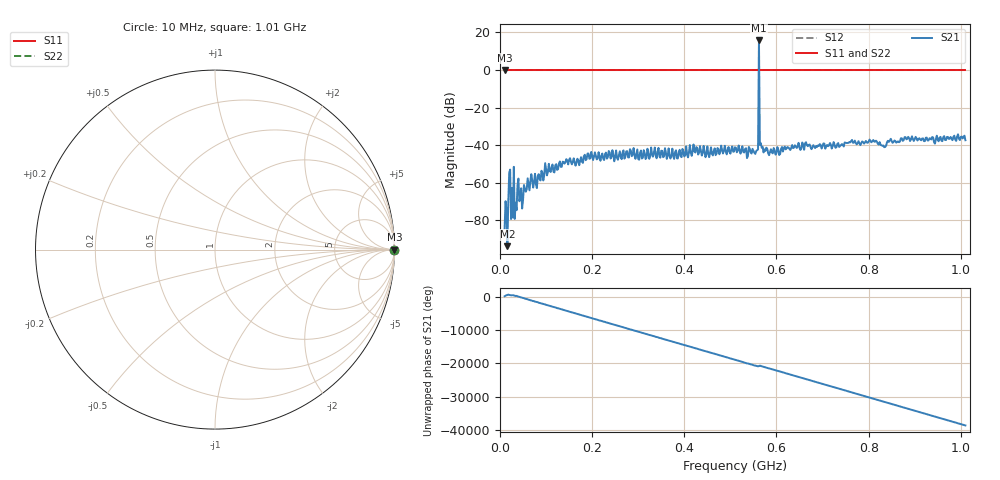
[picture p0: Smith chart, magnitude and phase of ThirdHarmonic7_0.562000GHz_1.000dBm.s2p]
! 8/17/2025 5:12:26 PM
! C:\ANRITSUVNA\TEMP\TEMP.S2P
! CHANNEL.1
! TR.MEASUREMENT
! RAW.DATA
! RF.CORRECTION.OFF
! AVERAGING.OFF
! IF.BANDWIDTH: 5KHZ
! SWEEPTYPE:  FREQ.SWEEP(Linear)
! Reference Plane Port Info
! PORT:  PORT1  PORT2
! DISTANCE:  0  m  0  m
! TIME:  0  s  0  s
! PHASE.OFFSET:  0  deg.  0  deg.
! LOSS:  0  dB  0  dB
! REF.LOSS:  0  dB  0  dB
! REF.FREQ:  0  Hz  0  Hz
! Power Info
! POWER:  -20  dBm  -20  dBm
! EFF.POWER:  -20  dBm  -20  dBm
! SOURCE.ATTEN:  0  dB  0  dB
! TEST.ATTEN:  0  dB  0  dB
# GHZ S RI R 50.0
! FREQ.GHZ  S11RE  S11IM  S21RE  S21IM  S12RE  S12IM  S22RE  S22IM
!; PortSelection: Port_12
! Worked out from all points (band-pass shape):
!   501 points, 10 MHz to 1.01 GHz, reference 50 ohm
!   highest |S21| = 15.61 dB at 562 MHz (marker M1); lowest = -93.6 dB at 16 MHz (marker M2)
!   |S21| within 3 dB of the highest: 561.8963 MHz to 562.1081 MHz (211.8 kHz wide, 0.0377 % of centre)
!   lowest |S11| = 0.0 dB at 10 MHz (marker M3)
!   |S11| at or under -10 dB: nowhere
!   |S22| runs from 0.0 to 0.0 dB; largest |S21 - S12| = 6.1
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0.01  1 0  -5.43e-05 2.88e-05  1 0  1 0
0.016  1 0  -1.97e-05 6.7e-06  1 0  1 0
0.022  1 0  -0.00189 0.00122  1 0  1 0
0.026  1 0  1.7e-05 0.000722  1 0  1 0
0.028  1 0  -2.6e-05 0.000117  1 0  1 0
0.042  1 0  0.000291 -0.000142  1 0  1 0
0.046  1 0  -0.000474 0.000535  1 0  1 0
0.064  1 0  -0.000511 0.000374  1 0  1 0
0.076  1 0  0.00168 -0.000454  1 0  1 0
0.102  1 0  0.00152 0.000424  1 0  1 0
0.178  1 0  -0.00351 -0.000903  1 0  1 0
0.344  1 0  0.00831 -0.00179  1 0  1 0
0.51  1 0  -0.00825 -0.0031  1 0  1 0
0.556  1 0  -0.00679 0.00164  1 0  1 0
0.558  1 0  0.00259 0.00688  1 0  1 0
0.562  1 0  0.1658 6.033  1 0  1 0
0.566  1 0  -0.00511 0.0101  1 0  1 0
0.568  1 0  0.00718 0.0046  1 0  1 0
0.588  1 0  0.00464 -0.00627  1 0  1 0
0.678  1 0  0.00659 -0.00577  1 0  1 0
0.844  1 0  -0.00814 0.00908  1 0  1 0
1.01  1 0  0.00304 -0.0132  1 0  1 0
